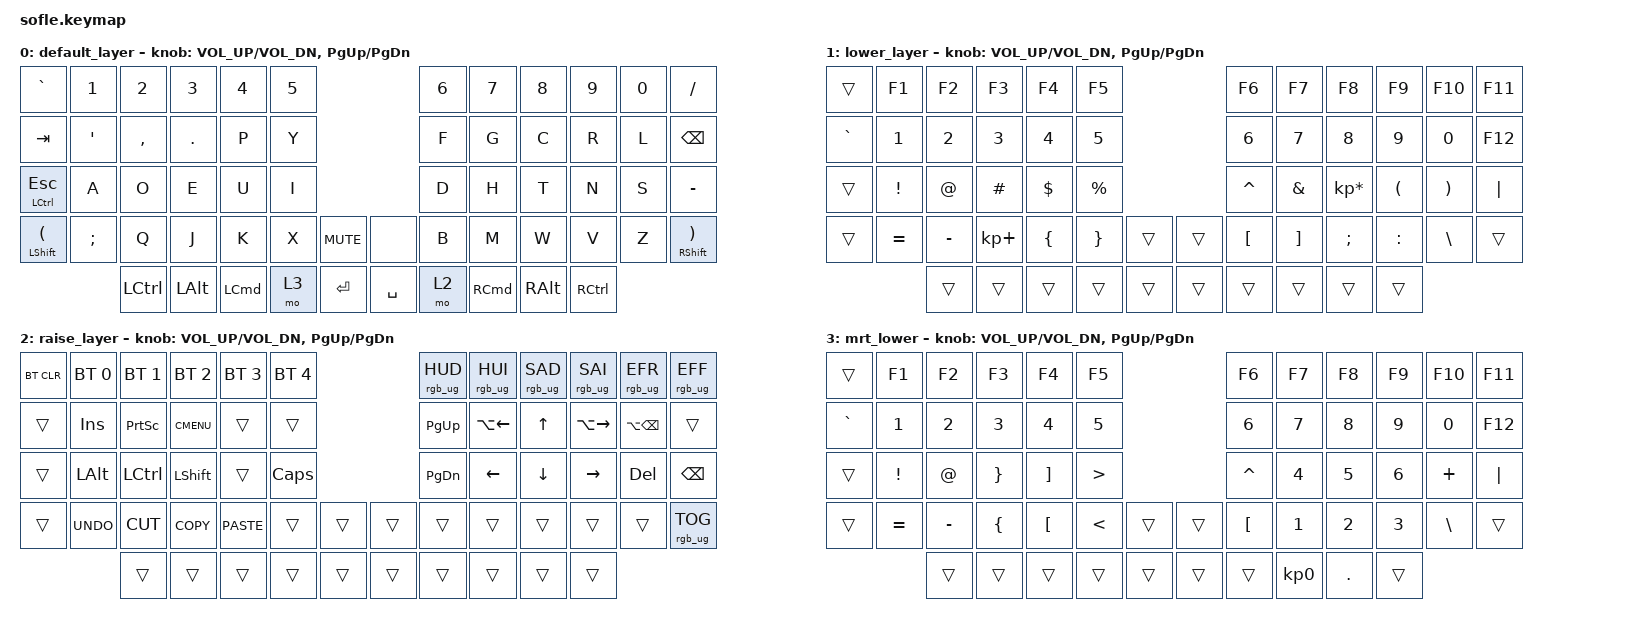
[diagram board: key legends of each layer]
/*
 * Copyright (c) 2020 The ZMK Contributors
 *
 * SPDX-License-Identifier: MIT
 */

#include <behaviors.dtsi>
#include <dt-bindings/zmk/bt.h>
#include <dt-bindings/zmk/keys.h>
#include <dt-bindings/zmk/rgb.h>

&led_strip { chain-length = <35>; };

&left_encoder { resolution = <2>; };

/ {
    keymap {
        compatible = "zmk,keymap";

        default_layer {
            // ------------------------------------------------------------------------------------------------------------
            // |  `    |  1  |  2  |  3   |  4   |  5   |                   |  6   |  7    |  8    |  9   |   0   |   /   |
            // |  TAB  |  '  |  ,  |  .   |  p   |  y   |                   |  F   |  G    |  C    |  R   |   L   | BKSPC |
            // | ⌃ ESC |  A  |  O  |  E   |  U   |  I   |                   |  D   |  H    |  T    |  N   |   S   |   -   |
            // |  ( ⇧  |  ;  |  Q  |  J   |  K   |  X   |  MUTE  |  |       |  B   |  M    |  w    |  v   |   Z   |  ⇧ )  |
            //               | GUI | ALT  | CTRL | LOWER|  ENTER |  | SPACE | RAISE| CTRL  | ALT   | GUI  |

            bindings = <
&kp GRAVE                   &kp N1         &kp N2            &kp N3      &kp N4            &kp N5                           &kp N6  &kp N7             &kp N8    &kp N9             &kp N0  &kp SLASH
&kp TAB                     &kp SQT        &kp COMMA         &kp PERIOD  &kp P             &kp Y                            &kp F   &kp G              &kp C     &kp R              &kp L   &kp BACKSPACE
&mt LEFT_CONTROL ESCAPE     &kp A          &kp O             &kp E       &kp U             &kp I                            &kp D   &kp H              &kp T     &kp N              &kp S   &kp MINUS
&mt LSHFT LEFT_PARENTHESIS  &kp SEMICOLON  &kp Q             &kp J       &kp K             &kp X   &kp C_MUTE    &none      &kp B   &kp M              &kp W     &kp V              &kp Z   &mt RSHFT RIGHT_PARENTHESIS
                                           &kp LEFT_CONTROL  &kp LALT    &kp LEFT_COMMAND  &mo 3   &kp RET       &kp SPACE  &mo 2   &kp RIGHT_COMMAND  &kp RALT  &kp RIGHT_CONTROL
            >;

            sensor-bindings = <&inc_dec_kp C_VOL_UP C_VOL_DN &inc_dec_kp PG_UP PG_DN>;
        };

        lower_layer {
            // TODO: Some binds are waiting for shifted keycode support.
            // ------------------------------------------------------------------------------------------------------------
            // |       |  F1 |  F2 |  F3  |  F4  |  F5  |                   |  F6  |  F7   |  F8   |  F9  |  F10  |  F11  |
            // | `     |   1 |   2 |   3  |   4  |   5  |                   |   6  |   7   |   8   |   9  |    0  |  F12  |
            // |       |  !  |  @  |  #   |  $   |  %   |                   |  ^   |  &    |  *    |  (   |   )   |   |   |
            // |       |  =  |  -  |  +   |  {   |  }   |        |  |       |  [   |  ]    |  ;    |  :   |   \   |RGB TOG|
            //               |     |      |      |      |        |  |       |      |       |       |      |

            bindings = <
&trans     &kp F1     &kp F2     &kp F3       &kp F4    &kp F5                       &kp F6     &kp F7    &kp F8           &kp F9     &kp F10   &kp F11
&kp GRAVE  &kp N1     &kp N2     &kp N3       &kp N4    &kp N5                       &kp N6     &kp N7    &kp N8           &kp N9     &kp N0    &kp F12
&trans     &kp EXCL   &kp AT     &kp HASH     &kp DLLR  &kp PRCNT                    &kp CARET  &kp AMPS  &kp KP_MULTIPLY  &kp LPAR   &kp RPAR  &kp PIPE
&trans     &kp EQUAL  &kp MINUS  &kp KP_PLUS  &kp LBRC  &kp RBRC   &trans    &trans  &kp LBKT   &kp RBKT  &kp SEMI         &kp COLON  &kp BSLH  &trans
                      &trans     &trans       &trans    &trans     &trans    &trans  &trans     &trans    &trans           &trans
            >;

            sensor-bindings = <&inc_dec_kp C_VOL_UP C_VOL_DN &inc_dec_kp PG_UP PG_DN>;
        };

        raise_layer {
            // ------------------------------------------------------------------------------------------------------------
            // |BTCLR| BT1  | BT2  |  BT3  |  BT4  |  BT5 |                |      |      |       |      |       |       |
            // |     | INS  | PSCR | GUI   |       |      |                | PGUP |      |   ^   |      |       |       |
            // |     | ALT  | CTRL | SHIFT |       | CAPS |                | PGDN |   <- |   v   |  ->  |  DEL  | BKSPC |
            // |     | UNDO | CUT  | COPY  | PASTE |      |      |  |      |      |      |       |      |       |       |
            //              |      |       |       |      |      |  |      |      |      |       |      |

            bindings = <
&bt BT_CLR  &bt BT_SEL 0  &bt BT_SEL 1  &bt BT_SEL 2  &bt BT_SEL 3  &bt BT_SEL 4                    &rgb_ug RGB_HUD  &rgb_ug RGB_HUI  &rgb_ug RGB_SAD  &rgb_ug RGB_SAI  &rgb_ug RGB_EFR    &rgb_ug RGB_EFF
&trans      &kp INS       &kp PSCRN     &kp K_CMENU   &trans        &trans                          &kp PG_UP        &kp LA(LEFT)     &kp UP           &kp LA(RIGHT)    &kp LA(BACKSPACE)  &trans
&trans      &kp LALT      &kp LCTRL     &kp LSHFT     &trans        &kp CLCK                        &kp PG_DN        &kp LEFT         &kp DOWN         &kp RIGHT        &kp DEL            &kp BSPC
&trans      &kp K_UNDO    &kp K_CUT     &kp K_COPY    &kp K_PASTE   &trans        &trans    &trans  &trans           &trans           &trans           &trans           &trans             &rgb_ug RGB_TOG
                          &trans        &trans        &trans        &trans        &trans    &trans  &trans           &trans           &trans           &trans
            >;

            sensor-bindings = <&inc_dec_kp C_VOL_UP C_VOL_DN &inc_dec_kp PG_UP PG_DN>;
        };

        mrt_lower {
            bindings = <
&trans     &kp F1     &kp F2     &kp F3           &kp F4             &kp F5                              &kp F6     &kp F7           &kp F8        &kp F9        &kp F10   &kp F11
&kp GRAVE  &kp N1     &kp N2     &kp N3           &kp N4             &kp N5                              &kp N6     &kp N7           &kp N8        &kp N9        &kp N0    &kp F12
&trans     &kp EXCL   &kp AT     &kp RIGHT_BRACE  &kp RIGHT_BRACKET  &kp GREATER_THAN                    &kp CARET  &kp NUMBER_4     &kp N5        &kp NUMBER_6  &kp PLUS  &kp PIPE
&trans     &kp EQUAL  &kp MINUS  &kp LEFT_BRACE   &kp LEFT_BRACKET   &kp LESS_THAN     &trans    &trans  &kp LBKT   &kp NUMBER_1     &kp NUMBER_2  &kp NUMBER_3  &kp BSLH  &trans
                      &trans     &trans           &trans             &trans            &trans    &trans  &trans     &kp KP_NUMBER_0  &kp DOT       &trans
            >;

            sensor-bindings =
                <&inc_dec_kp C_VOL_UP C_VOL_DN>,
                <&inc_dec_kp PG_UP PG_DN>;
        };
    };
};
